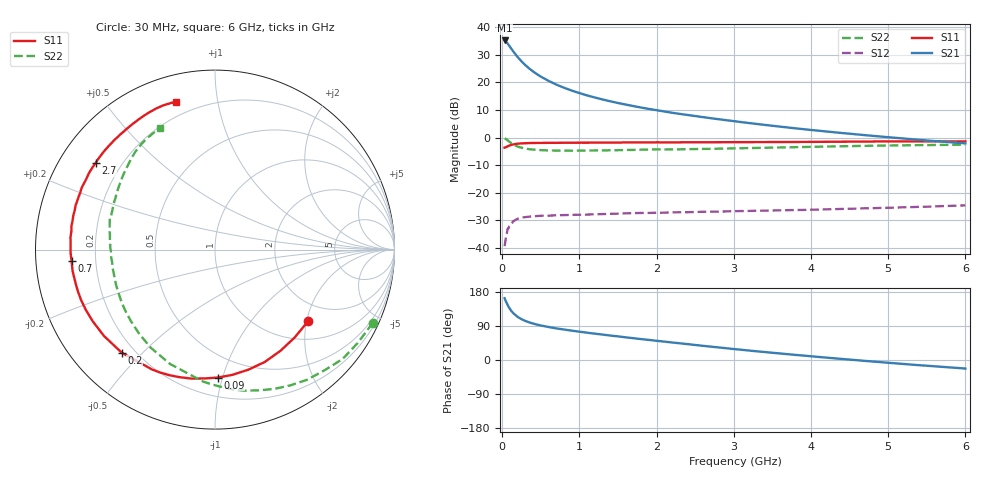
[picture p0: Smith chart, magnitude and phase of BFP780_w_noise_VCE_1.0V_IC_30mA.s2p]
! Infineon Technologies  Discrete & RF Semiconductors
! BFP780
! VCE =  1.0 V,  IC =  30 mA
! Common Emitter S-Parameters:  Jul 2015
# GHz  S  MA  R  50
!  f  S11  S21  S12  S22
! GHz  MAG  ANG  MAG  ANG  MAG  ANG  MAG  ANG
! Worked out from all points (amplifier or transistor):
!   75 points, 30 MHz to 6 GHz, reference 50 ohm
!   highest |S21| = 35.2 dB at 30 MHz (marker M1)
!   |S21| within 3 dB of that: start of sweep to 116.9 MHz
!   unconditionally stable (mu >= 1): 2.186 GHz to end of sweep
!   at 150 MHz: K = 0.09, MSG = 30.5 dB, |S12| = -30.2 dB
!   at 2.3 GHz: K = 1.03, MAG = 16.7 dB, |S12| = -27.1 dB
!   at 6 GHz: K = 1.65, MAG = 6.5 dB, |S12| = -24.6 dB
!   lowest NFmin = 1.09 dB at 450 MHz
!   S11 on the Smith chart (normalised r, x): 30 MHz: 1.46, -2.04; 90 MHz: 0.33, -0.96; 200 MHz: 0.15, -0.43; 700 MHz: 0.11, -0.04; 2.7 GHz: 0.11, +0.32; 6 GHz: 0.13, +0.76
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0.03  0.6547 -37.6  57.22 163.0  0.0108 73.2  0.9693 -24.9
0.05  0.6715 -57.1  54.08 153.2  0.0174 69.5  0.9365 -40.6
0.06  0.6847 -66.1  52.18 149.1  0.0189 62.2  0.9079 -47.8
0.07  0.6942 -74.4  50.14 144.9  0.0224 57.8  0.8882 -54.7
0.09  0.7132 -88.8  45.81 137.6  0.0249 51.8  0.8435 -67.0
0.11  0.7306 -100.5  41.79 131.4  0.0265 45.1  0.8036 -78.0
0.14  0.75 -114.1  36.6 124.1  0.0303 38.5  0.7508 -91.4
0.15  0.7543 -117.7  35.07 122.1  0.031 36.0  0.7381 -95.2
0.2  0.7746 -132.2  28.58 113.6  0.034 30.1  0.6847 -111.4
0.25  0.7836 -142.1  23.91 107.6  0.0355 25.4  0.6533 -123.3
0.3  0.7895 -149.5  20.39 102.9  0.0363 21.6  0.6299 -132.5
0.35  0.7943 -155.1  17.73 99.2  0.037 19.2  0.6151 -139.6
0.5  0.799 -166.3  12.66 91.1  0.0384 14.8  0.5916 -154.0
0.7  0.8018 -175.5  9.098 83.4  0.0392 12.2  0.5801 -165.6
1.1  0.8067 172.8  5.783 72.0  0.0403 10.4  0.5804 -179.1
1.5  0.8115 164.4  4.218 62.3  0.0419 9.7  0.5905 172.3
2.1  0.8183 153.7  2.961 48.5  0.0437 8.7  0.6077 162.4
2.7  0.8215 144.0  2.24 35.3  0.0456 7.3  0.6243 152.9
3.1  0.8259 137.8  1.901 27.0  0.0467 6.9  0.6404 146.9
4.1  0.836 124.0  1.329 8.0  0.0497 5.6  0.682 134.3
5.1  0.8516 112.9  0.987 -8.9  0.054 3.7  0.7199 123.7
6  0.8525 104.9  0.784 -22.6  0.0591 1.2  0.7434 114.2
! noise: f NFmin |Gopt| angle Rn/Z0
0.45  1.09  0.15  163  0.07
0.9  1.14  0.23  176  0.07
1.5  1.22  0.31  -170  0.07
1.8  1.4  0.36  -164  0.07
2.4  1.56  0.42  -151  0.09
3  1.83  0.47  -139  0.13
3.5  2.38  0.51  -127  0.21
